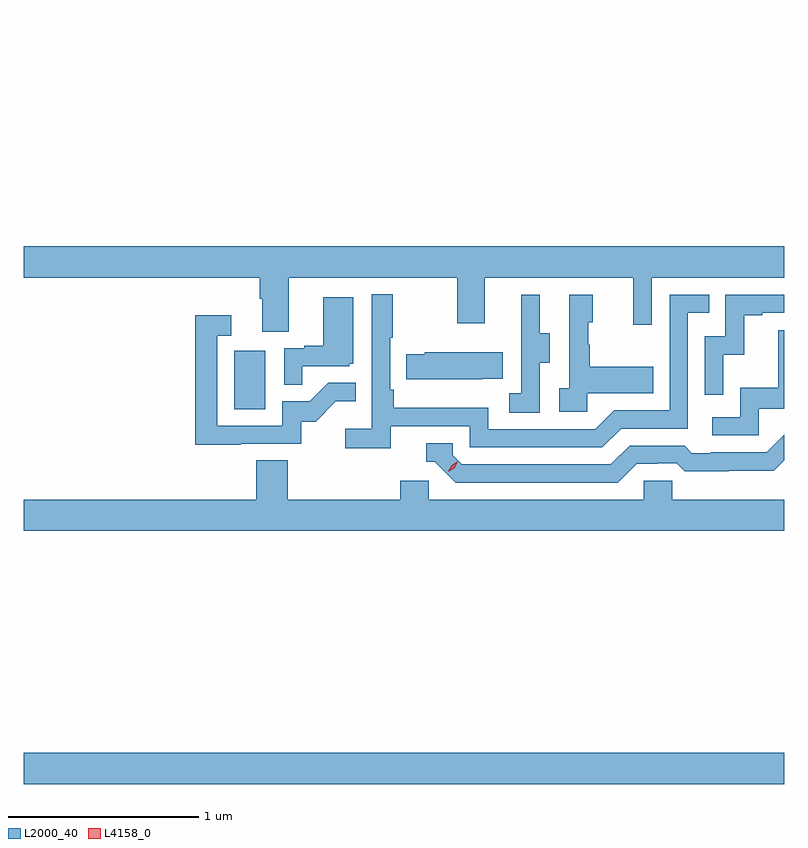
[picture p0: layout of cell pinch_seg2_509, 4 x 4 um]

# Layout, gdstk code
import gdstk
lib = gdstk.Library(unit=1e-6, precision=1e-09)
def R(c, l, rs):  # rectangles x0, y0, x1, y1
    for r in rs: c.add(gdstk.rectangle(r[:2], r[2:], *l))
def P(c, l, *ps):  # polygons
    for p in ps: c.add(gdstk.Polygon(p, *l))
L2000_40 = (2000, 40)
L4158_0 = (4158, 0)

pinch_seg2_509 = lib.new_cell('pinch_seg2_509')
R(pinch_seg2_509, L2000_40, [(1007.591,587.696,1011.591,587.86), (1008.698,589.668,1008.862,589.975), (1007.591,591.692,1011.591,591.694)])
P(pinch_seg2_509, L2000_40, [(1008.985,590.36),(1009.87,590.36),(1009.87,590.121),(1010.017,590.121),(1010.017,590.36),(1010.798,590.36),(1010.798,590.112),(1010.895,590.112),(1010.895,590.36),(1011.591,590.36),(1011.591,590.524),(1007.591,590.524),(1007.591,590.36),(1008.833,590.36),(1008.833,590.248),(1008.845,590.248),(1008.845,590.074),(1008.985,590.074)],
  [(1009.52,589.578),(1009.938,589.578),(1009.938,589.467),(1010.635,589.467),(1010.734,589.566),(1011.084,589.566),(1011.084,590.175),(1011.197,590.175),(1011.197,590.271),(1010.988,590.271),(1010.988,589.662),(1010.697,589.662),(1010.598,589.563),(1010.034,589.563),(1010.034,589.675),(1009.538,589.675),(1009.538,589.771),(1009.518,589.771),(1009.518,590.044),(1009.531,590.044),(1009.531,590.272),(1009.422,590.272),(1009.422,589.564),(1009.281,589.564),(1009.281,589.462),(1009.52,589.462)],
  [(1011.27,589.955),(1011.38,589.955),(1011.38,590.163),(1011.475,590.163),(1011.475,590.175),(1011.591,590.175),(1011.591,590.271),(1011.282,590.271),(1011.282,590.052),(1011.174,590.052),(1011.174,589.743),(1011.27,589.743)],
  [(1010.556,589.751),(1010.903,589.751),(1010.903,589.891),(1010.569,589.891),(1010.569,590.006),(1010.559,590.006),(1010.559,590.124),(1010.584,590.124),(1010.584,590.269),(1010.46,590.269),(1010.46,589.778),(1010.409,589.778),(1010.409,589.653),(1010.556,589.653)],
  [(1010.304,589.912),(1010.359,589.912),(1010.359,590.067),(1010.305,590.067),(1010.305,590.269),(1010.207,590.269),(1010.207,590.055),(1010.208,590.055),(1010.208,589.751),(1010.145,589.751),(1010.145,589.648),(1010.304,589.648)],
  [(1009.055,589.893),(1009.302,589.893),(1009.302,589.908),(1009.324,589.908),(1009.324,590.257),(1009.166,590.257),(1009.166,590.002),(1009.067,590.002),(1009.067,589.989),(1008.96,589.989),(1008.96,589.795),(1009.055,589.795)],
  [(1008.731,589.485),(1009.05,589.485),(1009.05,589.602),(1009.126,589.602),(1009.233,589.709),(1009.337,589.709),(1009.337,589.808),(1009.193,589.808),(1009.095,589.71),(1008.951,589.71),(1008.951,589.581),(1008.609,589.581),(1008.609,590.055),(1008.682,590.055),(1008.682,590.161),(1008.493,590.161),(1008.493,589.48),(1008.731,589.48)],
  [(1011.456,589.671),(1011.591,589.671),(1011.591,590.083),(1011.559,590.083),(1011.559,589.78),(1011.36,589.78),(1011.36,589.626),(1011.213,589.626),(1011.213,589.53),(1011.456,589.53)],
  [(1010.003,589.829),(1010.111,589.829),(1010.111,589.966),(1009.701,589.966),(1009.701,589.956),(1009.603,589.956),(1009.603,589.826),(1010.003,589.826)],
  [(1010.815,589.38),(1010.922,589.38),(1010.922,589.383),(1011.025,589.383),(1011.067,589.341),(1011.3,589.341),(1011.3,589.343),(1011.536,589.343),(1011.591,589.398),(1011.591,589.533),(1011.498,589.44),(1011.205,589.44),(1011.205,589.437),(1011.106,589.437),(1011.067,589.476),(1010.778,589.476),(1010.679,589.377),(1009.896,589.377),(1009.848,589.425),(1009.848,589.488),(1009.709,589.488),(1009.709,589.392),(1009.752,589.392),(1009.863,589.281),(1010.716,589.281)],
  [(1011.591,589.192),(1011.003,589.192),(1011.003,589.29),(1010.853,589.29),(1010.853,589.192),(1009.722,589.192),(1009.722,589.29),(1009.571,589.29),(1009.571,589.192),(1008.98,589.192),(1008.98,589.4),(1008.815,589.4),(1008.815,589.192),(1007.591,589.192),(1007.591,589.028),(1011.591,589.028)])
P(pinch_seg2_509, L4158_0, [(1009.825,589.339),(1009.825,589.34),(1009.841,589.372),(1009.872,589.39),(1009.873,589.39),(1009.873,589.39),(1009.856,589.358),(1009.825,589.339)])

lib.write_gds('pinch_seg2_509.gds')
